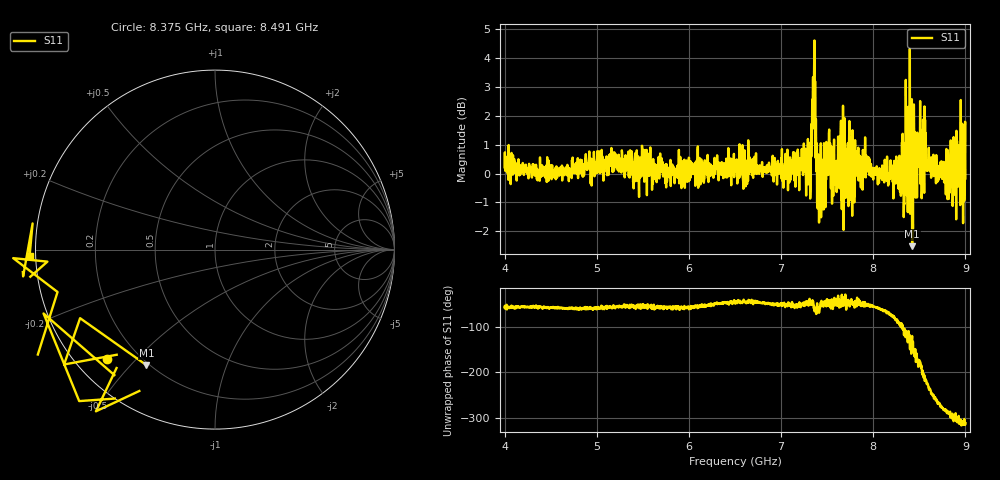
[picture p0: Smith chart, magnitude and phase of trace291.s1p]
! Created with skrf 1.8.0 (http://scikit-rf.org).
# Hz S RI R 50.0
!freq ReS11 ImS11
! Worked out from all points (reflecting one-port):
!   1601 points, 4 GHz to 9 GHz, reference 50 ohm
!   lowest |S11| = -2.5 dB at 8.422 GHz (marker M1), VSWR 6.95, Z = 9.46 - j27.7 ohm
!   phase of S11 starts at -58 deg and turns -254 deg over the sweep
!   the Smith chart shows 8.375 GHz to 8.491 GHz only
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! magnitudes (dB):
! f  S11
! 4 GHz  0.2
! 4.625 GHz  -0.2
! 5.25 GHz  0.3
! 5.875 GHz  0.3
! 6.5 GHz  0.3
! 7.125 GHz  0.2
! 7.297 GHz  0.7
! 7.353 GHz  2.2
! 7.369 GHz  3.2
! 7.4 GHz  0.7
! 7.416 GHz  -0.7
! 7.512 GHz  0.0
! 7.609 GHz  -0.2
! 7.662 GHz  0.3
! 7.75 GHz  0.2
! 7.928 GHz  0.4
! 8.316 GHz  0.2
! 8.334 GHz  -1.0
! 8.35 GHz  0.7
! 8.375 GHz  -1.3
! 8.406 GHz  0.0
! 8.422 GHz  -2.5
! 8.447 GHz  1.3
! 8.497 GHz  1.0
! 8.606 GHz  0.3
! 8.812 GHz  0.5
! 8.972 GHz  0.5
! 9 GHz  -0.2
